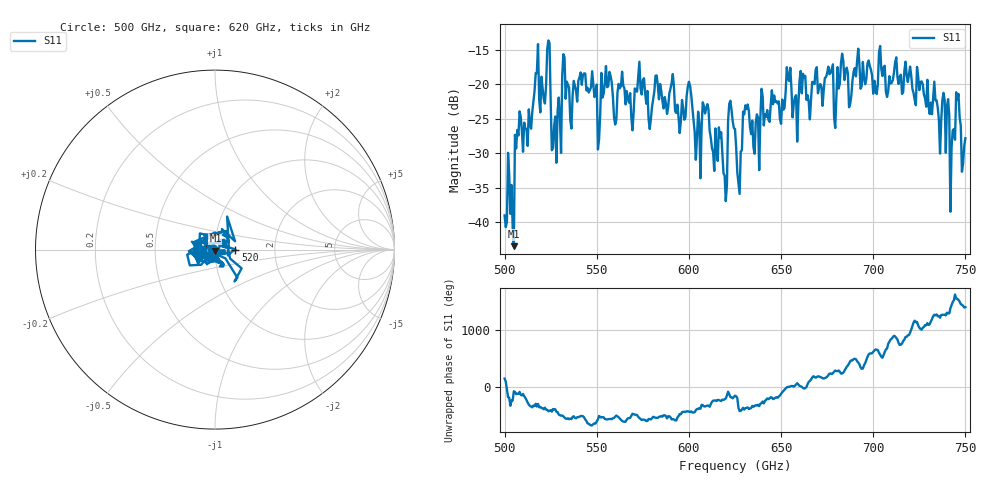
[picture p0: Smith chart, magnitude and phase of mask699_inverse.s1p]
!Created with skrf (http://scikit-rf.org).
# GHz S MA R 50.0
!freq magS11 angS11
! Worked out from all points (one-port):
!   401 points, 500 GHz to 750 GHz, reference 50 ohm
!   lowest |S11| = -43.4 dB at 505 GHz (marker M1), VSWR 1.01, Z = 50.2 - j0.639 ohm
!   |S11| at or under -10 dB: start of sweep to end of sweep
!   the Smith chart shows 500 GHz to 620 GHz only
!   S11 on the Smith chart (normalised r, x): 500 GHz: 0.98, +0.01; 520 GHz: 1.26, +0.00; 620 GHz: 0.97, +0.01
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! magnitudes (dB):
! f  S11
! 500 GHz  -39.0
! 505 GHz  -43.4
! 506.9 GHz  -26.6
! 520 GHz  -18.9
! 523.8 GHz  -13.6
! 526.9 GHz  -26.0
! 531.2 GHz  -18.8
! 542.5 GHz  -18.6
! 550.6 GHz  -29.4
! 562.5 GHz  -20.6
! 590.6 GHz  -19.8
! 593.8 GHz  -22.9
! 600 GHz  -19.6
! 605 GHz  -23.9
! 608.8 GHz  -24.2
! 620 GHz  -36.9
! 622.5 GHz  -22.4
! 625 GHz  -26.5
! 627.5 GHz  -35.9
! 630.6 GHz  -23.0
! 636.9 GHz  -24.3
! 656.2 GHz  -24.8
! 687.5 GHz  -22.8
! 718.8 GHz  -19.6
! 739.4 GHz  -29.9
! 743.1 GHz  -26.7
! 746.2 GHz  -21.4
! 750 GHz  -27.8
